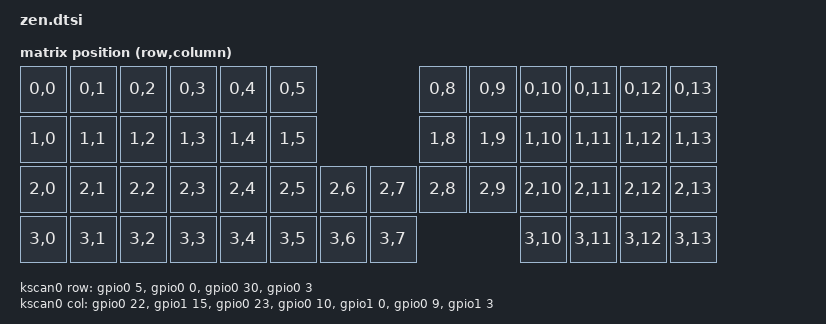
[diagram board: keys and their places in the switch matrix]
#include <zephyr/dt-bindings/gpio/nordic-nrf-gpio.h>
#include <dt-bindings/input/input-event-codes.h>
#include <dt-bindings/zmk/matrix_transform.h>
#include "zen_layouts.dtsi"

/ {
    chosen {
        zmk,physical-layout = &zen_physical_layout;
        zmk,kscan = &kscan0;
        zmk,battery = &non_lipo_battery;
    };

    zen_transform: keymap_transform_0 {
        compatible = "zmk,matrix-transform";
        columns = <14>;
        rows = <4>;
        map = <
            RC(0,0) RC(0,1) RC(0,2) RC(0,3) RC(0,4) RC(0,5)                   RC(0,8) RC(0,9) RC(0,10) RC(0,11) RC(0,12) RC(0,13)
            RC(1,0) RC(1,1) RC(1,2) RC(1,3) RC(1,4) RC(1,5)                   RC(1,8) RC(1,9) RC(1,10) RC(1,11) RC(1,12) RC(1,13)
            RC(2,0) RC(2,1) RC(2,2) RC(2,3) RC(2,4) RC(2,5) RC(2,6)  RC(2,7)  RC(2,8) RC(2,9) RC(2,10) RC(2,11) RC(2,12) RC(2,13)
            RC(3,0) RC(3,1) RC(3,2) RC(3,3) RC(3,4) RC(3,5) RC(3,6)  RC(3,7)                  RC(3,10) RC(3,11) RC(3,12) RC(3,13)
        >;
    };

    /* トラックボールを一定量動かしたときだけマウスレイヤー(1)に入る
       (ZMK標準の zip_temp_layer は最初の1イベントで即レイヤーONになるため自作)

       設計方針: 「入口はゆるく、出口を作る」
         - 入口(誤爆防止)は require-prior-idle-ms が主担当。距離は補助に留める
         - 出口は excluded-positions に載っていないキーの打鍵で即解除
       このプロパティ群はここ1箇所でのみ定義する (DTSは後勝ちのため多重定義は事故のもと) */
    /omit-if-no-ref/ zip_delay_temp_layer: zip_delay_temp_layer {
        compatible = "zmk,input-processor-delay-temp-layer";
        #input-processor-cells = <2>;
        activation-delay-ms = <0>;
        /* 断続的にゆっくり転がしても距離カウンタがリセットされないよう長めに取る */
        movement-gap-ms = <150>;

        /* 最後の打鍵からの経過時間で必要な移動量を三段階に切り替える (cpi=800)
             0-400ms    : 距離に関係なく入らない          (require-prior-idle-ms)
             400-1500ms : 96カウント ≒ 3.0mm  が必要      (activation-distance-after-typing)
             1500ms-    :  8カウント ≒ 0.25mm で入る      (activation-distance)
           打鍵中の微振動は 3mm に届かず、打鍵していないときは触れば入る。
           入りやすくても実害がないのは excluded-positions が打鍵で即解除するため */
        require-prior-idle-ms = <400>;
        activation-distance = <8>;
        activation-distance-after-typing = <96>;
        typing-window-ms = <1500>;

        /* ここに列挙した位置「以外」を押すとマウスレイヤーが即解除される。
           = マウス操作中に押したいキーのホワイトリスト。
           レイヤー1の割り当てを変えたら必ずここも更新すること。
           position 44 (左キーボード右下の lt 1/ESC) は意図的に含めない。
           オートマウス中に短押しするとレイヤー1を解除し、ESCとして動作する */
        excluded-positions = <
            3  4                 /* E R  -> Gui+Shift+[ ] タブ切替 */
            7  8  9              /* U I O -> LCLK / mo 4 / RCLK */
            15 16 17             /* D F G -> mo 4 / MB1 / MB2 */
            18 19 20 21 22       /* H J K L ; -> Gui+[ / MB1 / MB3 / MB2 / Gui+] */
            12 24 31 41 42       /* LCTRL LSHFT RCMD LALT LCMD */
            38                   /* mo 1 手動マウスレイヤー。ここを外すと
                                    押した瞬間にこのプロセッサがレイヤー1を落としてしまう */
            39                   /* tog 7 トラックボール速度切替 */
        >;
    };

    kscan0: kscan {
        compatible = "zmk,kscan-gpio-matrix";

        col-gpios
            = <&gpio0 22 (GPIO_ACTIVE_HIGH | GPIO_PULL_DOWN)>,
            <&gpio1 15   (GPIO_ACTIVE_HIGH | GPIO_PULL_DOWN)>,
            <&gpio0 23   (GPIO_ACTIVE_HIGH | GPIO_PULL_DOWN)>,
            <&gpio0 10   (GPIO_ACTIVE_HIGH | GPIO_PULL_DOWN)>,
            <&gpio1 0    (GPIO_ACTIVE_HIGH | GPIO_PULL_DOWN)>,
            <&gpio0 9    (GPIO_ACTIVE_HIGH | GPIO_PULL_DOWN)>,
            <&gpio1 3    (GPIO_ACTIVE_HIGH | GPIO_PULL_DOWN)>
            ;

        row-gpios
            = <&gpio0 5 (GPIO_ACTIVE_HIGH)>,
            <&gpio0 0  (GPIO_ACTIVE_HIGH)>,
            <&gpio0 30 (GPIO_ACTIVE_HIGH)>,
            <&gpio0 3  (GPIO_ACTIVE_HIGH)>
            ;

        wakeup-source;
    };

    leds {
        compatible = "gpio-leds";
        status_led: status_led {
            gpios = <&bmp 2 GPIO_ACTIVE_HIGH>;
            label = "Status LED";
        };
    };

    status_led_device: status_led_device {
        compatible = "zmk,status-led";
        led = <&status_led>;
    };

    bootloader_trigger: bootloader_trigger {
        compatible = "zmk,cdc-acm-bootloader-trigger";
    };

    scroll_scaler: scroll_scaler {
        compatible = "zmk,input-processor-scaler";
        #input-processor-cells = <2>;
        type = <INPUT_EV_REL>;
        codes = <INPUT_REL_WHEEL INPUT_REL_HWHEEL>;
        track-remainders;
    };

    pointing_listener: pointing_listener {
        compatible = "zmk,input-listener";
        status = "disabled";
    };

    vbatt: vbatt {
        status = "disabled";
    };

    non_lipo_battery: non_lipo_battery {
        compatible = "zmk,non-lipo-battery";
        io-channels = <&adc 4>;
    };
};

&pinctrl {
    spi0_default: spi0_default {
        group1 {
            psels = <NRF_PSEL(SPIM_SCK, 0, 18)>,
                    <NRF_PSEL(SPIM_MOSI, 0, 16)>,
                    <NRF_PSEL(SPIM_MISO, 0, 16)>;
        };
    };

    spi0_sleep: spi0_sleep {
        group1 {
            psels = <NRF_PSEL(SPIM_SCK, 0, 18)>,
                    <NRF_PSEL(SPIM_MOSI, 0, 16)>,
                    <NRF_PSEL(SPIM_MISO, 0, 16)>;
        };
        low-power-enable;
    };

    i2c0_default: i2c0_default {
        group1 {
            psels = <NRF_PSEL(TWIM_SDA, 0, 18)>,
                    <NRF_PSEL(TWIM_SCL, 0, 16)>;
            bias-pull-up;
        };
    };

    i2c0_sleep: i2c0_sleep {
        group1 {
            psels = <NRF_PSEL(TWIM_SDA, 0, 18)>,
                    <NRF_PSEL(TWIM_SCL, 0, 16)>;
            bias-pull-up;
            low-power-enable;
        };
    };
};

&zen_physical_layout {
    kscan = <&kscan0>;
    transform = <&zen_transform>;
};
